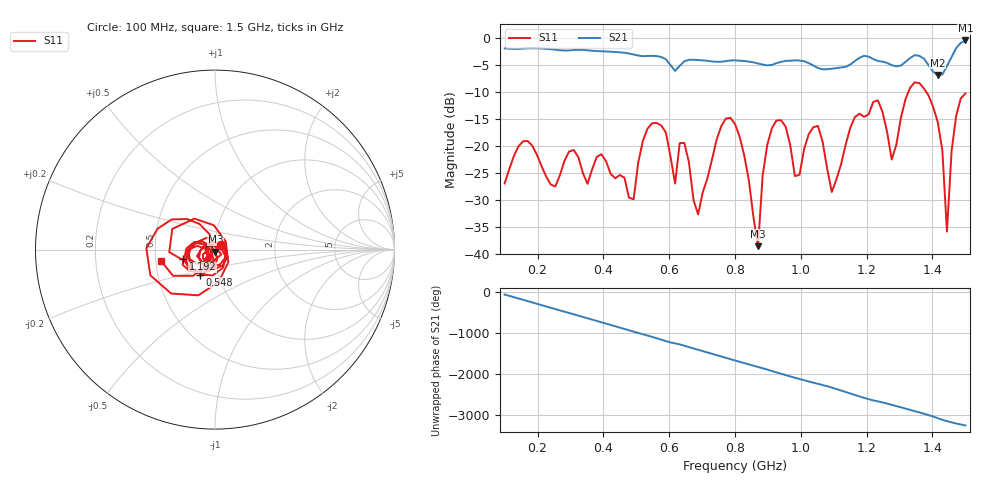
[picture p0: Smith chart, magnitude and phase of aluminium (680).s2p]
! NanoVNA-App
! Date: 2025-09-25 15:00:34
! Start: 100MHz Stop: 1,5GHz Points: 101
! S-Parameter data: F S11 S21 S12 S22
# Hz S RI R 50
!  Frequency  S11_Real  S11_Imag  S21_Real  S21_Imag  S12_Real  S12_Imag  S22_Real  S22_Imag
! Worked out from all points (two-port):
!   101 points, 100 MHz to 1.5 GHz, reference 50 ohm
!   highest |S21| = -0.46 dB at 1.5 GHz (marker M1); lowest = -6.8 dB at 1.416 GHz (marker M2)
!   |S21| within 3 dB of the highest: start of sweep to 570.6 MHz; 1.459 GHz to end of sweep (the widest 2 of 4)
!   lowest |S11| = -38.6 dB at 870 MHz (marker M3), VSWR 1.02, Z = 50.2 - j1.17 ohm
!   |S11| at or under -10 dB: start of sweep to 1.327 GHz; 1.381 GHz to end of sweep
!   S12 and S22 are empty: the file has one direction only
!   S11 on the Smith chart (normalised r, x): 100 MHz: 1.07, +0.06; 548 MHz: 0.82, -0.23; 1.192 GHz: 0.69, -0.08; 1.5 GHz: 0.54, -0.08
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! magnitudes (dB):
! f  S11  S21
! 100 MHz  -27.0  -1.9
! 156 MHz  -19.1  -2.0
! 338 MHz  -25.1  -2.2
! 492 MHz  -29.9  -3.1
! 548 MHz  -15.8  -3.3
! 576 MHz  -16.2  -3.5
! 618 MHz  -27.0  -6.1
! 646 MHz  -19.4  -4.3
! 688 MHz  -32.7  -4.1
! 800 MHz  -15.9  -4.1
! 870 MHz  -38.6  -4.7
! 912 MHz  -16.7  -5.0
! 982 MHz  -25.6  -4.1
! 1.038 GHz  -16.5  -5.1
! 1.094 GHz  -28.5  -5.7
! 1.192 GHz  -14.6  -3.3
! 1.276 GHz  -22.5  -5.0
! 1.346 GHz  -8.2  -3.2
! 1.416 GHz  -15.6  -6.8
! 1.444 GHz  -35.9  -5.2
! 1.472 GHz  -14.4  -1.9
! 1.5 GHz  -10.3  -0.5
